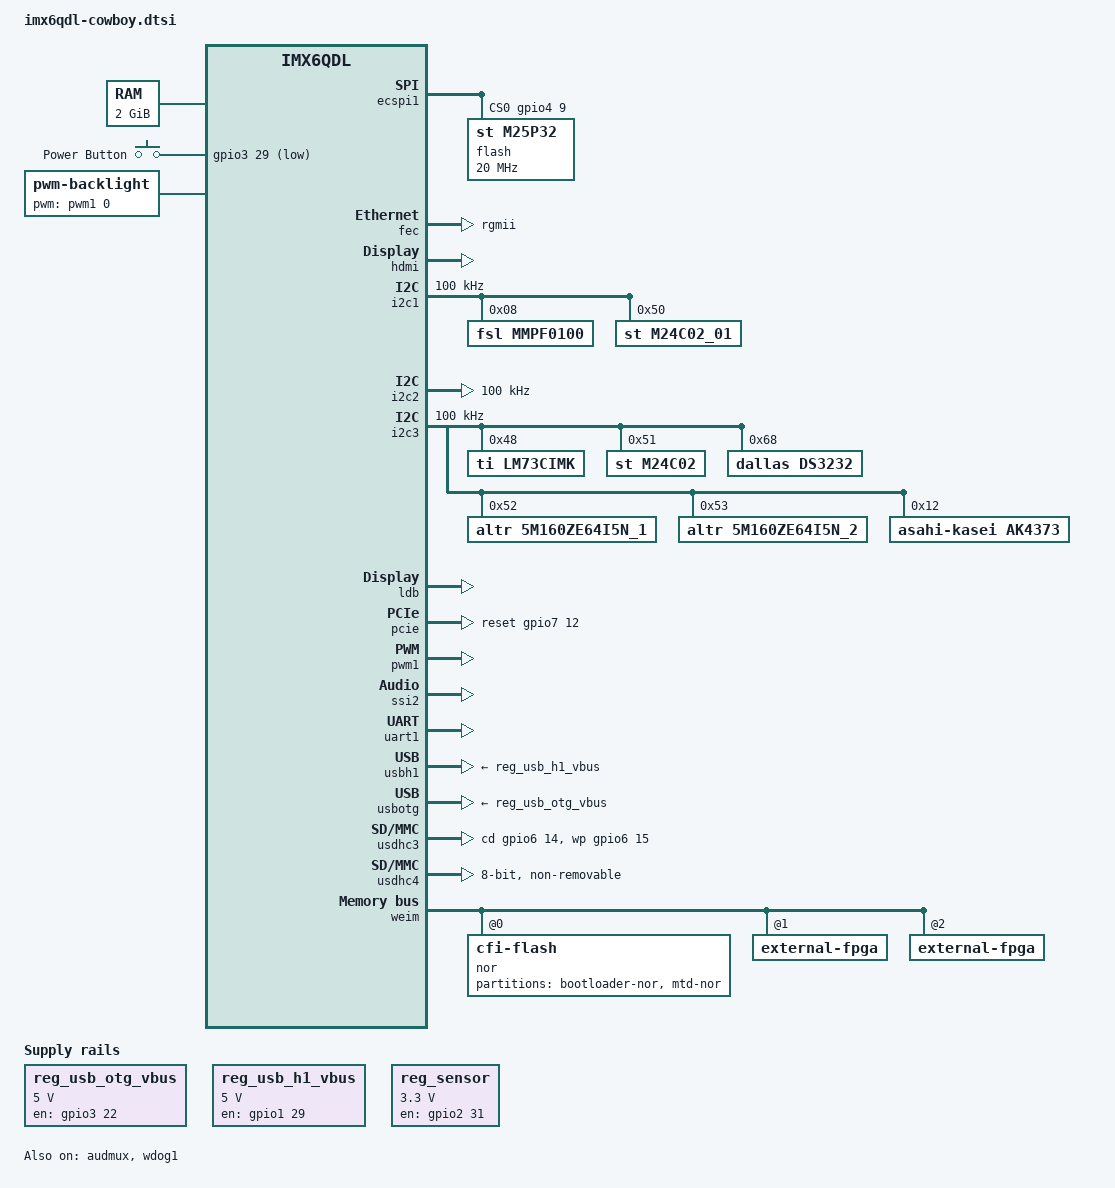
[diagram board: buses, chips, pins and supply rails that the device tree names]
/*
 * Cowboy SOC support
 *
 * Copyright 2016 Sony Corporation
 * Based on arch/arm/boot/dts/imx6qdl-sabresd.dtsi
 *
 * Copyright 2012 Freescale Semiconductor, Inc.
 * Copyright 2011 Linaro Ltd.
 *
 * The code contained herein is licensed under the GNU General Public
 * License. You may obtain a copy of the GNU General Public License
 * Version 2 or later at the following locations:
 *
 * http://www.opensource.org/licenses/gpl-license.html
 * http://www.gnu.org/copyleft/gpl.html
 */

/ {
	aliases {
		mxcfb0 = &mxcfb1;
		mxcfb1 = &mxcfb2;
		mxcfb2 = &mxcfb3;
		mmcblk0 = &usdhc4;	/* eMMC phandle aliasing */
		mmcblk1 = &usdhc3;	/* SD card phandle aliasing */
	};

	chosen {
		linux,nblargs-len = <0x1000>;
		linux,nblargs-addr = <0xc1ffe000>;
		linux,nblargs-off = <0xc0000000>;
	};

	memory {
		reg = <0x10000000 0x80000000>;
	};

	regulators {
		compatible = "simple-bus";

		reg_usb_otg_vbus: usb_otg_vbus {
			compatible = "regulator-fixed";
			regulator-name = "usb_otg_vbus";
			regulator-min-microvolt = <5000000>;
			regulator-max-microvolt = <5000000>;
			gpio = <&gpio3 22 0>;
			enable-active-high;
		};

		reg_usb_h1_vbus: usb_h1_vbus {
			compatible = "regulator-fixed";
			regulator-name = "usb_h1_vbus";
			regulator-min-microvolt = <5000000>;
			regulator-max-microvolt = <5000000>;
			gpio = <&gpio1 29 0>;
			enable-active-high;
		};

		reg_sensor: sensor_supply {
			compatible = "regulator-fixed";
			regulator-name = "sensor-supply";
			regulator-min-microvolt = <3300000>;
			regulator-max-microvolt = <3300000>;
			gpio = <&gpio2 31 0>;
			startup-delay-us = <500>;
			enable-active-high;
		};
	};

	gpio-keys {
		compatible = "gpio-keys";
		power {
			label = "Power Button";
			gpios = <&gpio3 29 1>;
			linux,code = <116>; /* KEY_POWER */
			gpio-key,wakeup;
		};
	};

	sound {
		compatible = "fsl,imx-audio-ak4373";
		model = "ak4373-audio";
		imx-audio-ak4373,format = "i2s";
		mux-int-port = <2>; /* AUDMUX internal port */
		mux-ext-port = <4>; /* AUDMUX external port */
		cpu {
			sound-dai = <&ssi2 2>;
			bitclock-master;
			frame-master;
			format = "i2s";
		};
		codec {
			sound-dai = <&ak4373>;
			format = "i2s";
		};
	};

	mxcfb1: fb@0 {
		compatible = "fsl,mxc_sdc_fb";
		disp_dev = "ldb";
		interface_pix_fmt = "RGB666";
		default_bpp = <16>;
		int_clk = <0>;
		late_init = <0>;
		status = "okay";
	};

	mxcfb2: fb@1 {
		compatible = "fsl,mxc_sdc_fb";
		disp_dev = "hdmi";
		interface_pix_fmt = "RGB24";
		mode_str ="1920x1080M@60";
		default_bpp = <24>;
		int_clk = <0>;
		late_init = <0>;
		status = "okay";
	};

	mxcfb3: fb@2 {
		compatible = "fsl,mxc_sdc_fb";
		disp_dev = "lcd";
		interface_pix_fmt = "RGB565";
		mode_str ="CLAA-WVGA";
		default_bpp = <16>;
		int_clk = <0>;
		late_init = <0>;
		status = "disabled";
	};

	lcd@0 {
		compatible = "fsl,lcd";
		ipu_id = <0>;
		disp_id = <0>;
		default_ifmt = "RGB565";
		pinctrl-names = "default";
		pinctrl-0 = <&pinctrl_ipu1_4>;
		status = "okay";
	};

	backlight {
		compatible = "pwm-backlight";
		pwms = <&pwm1 0 5000000>;
		brightness-levels = <0 4 8 16 32 64 128 255>;
		default-brightness-level = <7>;
	};

	v4l2_out {
		compatible = "fsl,mxc_v4l2_output";
		status = "okay";
		};
};

&audmux {
	pinctrl-names = "default";
	pinctrl-0 = <&pinctrl_audmux_4>;
	status = "okay";
};

&clks {
	assigned-clocks = <&clks 33>,
			  <&clks 34>;
	assigned-clock-parents = <&clks 172>,
				 <&clks 172>;
};

&ecspi1 {
	fsl,spi-num-chipselects = <1>;
	cs-gpios = <&gpio4 9 0>;
	pinctrl-names = "default";
	pinctrl-0 = <&pinctrl_ecspi1_2>;
	status = "okay";

	flash: m25p80@0 {
		#address-cells = <1>;
		#size-cells = <1>;
		compatible = "st,m25p32";
		spi-max-frequency = <20000000>;
		reg = <0>;
	};
};

&fec {
	pinctrl-names = "default";
	pinctrl-0 = <&pinctrl_enet_4>;
	phy-mode = "rgmii";
	status = "okay";
};

&gpc {
	fsl,cpu_pupscr_sw2iso = <0xf>;
	fsl,cpu_pupscr_sw = <0xf>;
	fsl,cpu_pdnscr_iso2sw = <0x1>;
	fsl,cpu_pdnscr_iso = <0x1>;
	fsl,ldo-bypass = <1>; /* use ldo-bypass, u-boot will check it and configure */
	fsl,wdog-reset = <1>; /* watchdog select of reset source */
	pu-supply = <&reg_pu>;
};

&wdog1 {
	status = "okay";
};

&wdog2 {
	status = "disabled";
};

&hdmi {
	ddc-i2c-bus = <&i2c2>;
	status = "okay";
};

&i2c1 {
	clock-frequency = <100000>;
	pinctrl-names = "default";
	pinctrl-0 = <&pinctrl_i2c1_2>;
	status = "okay";

	mmpf0100@08 {
		compatible = "fsl,mmpf0100";
		reg = <0x08>;
	};

	m24c02_01@50 {
		compatible = "st,m24c02_01";
		reg = <0x50>;
	};
};

&i2c2 {
	clock-frequency = <100000>;
	pinctrl-names = "default";
	pinctrl-0 = <&pinctrl_i2c2_2>;
	status = "okay";
};

&i2c3 {
	clock-frequency = <100000>;
	pinctrl-names = "default";
	pinctrl-0 = <&pinctrl_i2c3_3>;
	status = "okay";

	lm73cimk@48 {
		compatible = "ti,lm73cimk";
		reg = <0x48>;
	};

	m24c02@51 {
		compatible = "st,m24c02";
		reg = <0x51>;
	};

	ds3232@68 {
		compatible = "dallas,ds3232";
		reg = <0x68>;
	};

	5m160ze64i5n_1@52 {
		compatible = "altr,5m160ze64i5n_1";
		reg = <0x52>;
	};

	5m160ze64i5n_2@53 {
		compatible = "altr,5m160ze64i5n_2";
		reg = <0x53>;
	};

	ak4373: ak4373@12 {
		compatible = "asahi-kasei,ak4373";
		#sound-dai-cells = <0>;
		reg = <0x12>;
	};

};

&iomuxc {
	pinctrl-names = "default";
	pinctrl-0 = <&pinctrl_hog_1>;

	hog {
		pinctrl_hog_1: hoggrp-1 {
			fsl,pins = <
				MX6QDL_PAD_GPIO_4__GPIO1_IO04   0x80000000
				MX6QDL_PAD_NANDF_D0__GPIO2_IO00 0x80000000
				MX6QDL_PAD_NANDF_D1__GPIO2_IO01 0x80000000
				MX6QDL_PAD_NANDF_D2__GPIO2_IO02 0x80000000
				MX6QDL_PAD_NANDF_D3__GPIO2_IO03 0x80000000
				MX6QDL_PAD_NANDF_ALE__GPIO6_IO08 0x80000000
				MX6QDL_PAD_NANDF_CLE__GPIO6_IO07 0x80000000
				MX6QDL_PAD_GPIO_0__CCM_CLKO1    0x130b0
				MX6QDL_PAD_NANDF_CS2__GPIO6_IO15 0x80000000
				MX6QDL_PAD_NANDF_CS3__GPIO6_IO16 0x80000000
				MX6QDL_PAD_ENET_RXD0__GPIO1_IO27 0x80000000
				MX6QDL_PAD_ENET_TXD1__GPIO1_IO29 0x80000000
				MX6QDL_PAD_NANDF_CS0__GPIO6_IO11 0x80000000
				MX6QDL_PAD_NANDF_CS1__GPIO6_IO14 0x80000000
				MX6QDL_PAD_GPIO_4__GPIO1_IO04 0x80000000
				MX6QDL_PAD_SD3_RST__GPIO7_IO08 0x80000000
				MX6QDL_PAD_GPIO_9__GPIO1_IO09 0x80000000
				MX6QDL_PAD_GPIO_1__WDOG2_B 0x80000000
				MX6QDL_PAD_GPIO_2__GPIO1_IO02 0x80000000
				MX6QDL_PAD_SD1_CMD__GPIO1_IO18 0x80000000
			>;
		};
	};
};

&ldb {
	status = "okay";

	lvds-channel@0 {
		fsl,data-mapping = "spwg";
		fsl,data-width = <18>;
		status = "okay";

		display-timings {
			native-mode = <&timing0>;
			timing0: VESA-800x600@60 {
				clock-frequency = <40000000>;
				hactive = <800>;
				vactive = <600>;
				hback-porch = <88>;
				hfront-porch = <40>;
				vback-porch = <22>;
				vfront-porch = <2>;
				hsync-len = <128>;
				vsync-len = <4>;
			};
		};
	};
};

&pcie {
	power-on-gpio = <&gpio3 19 0>;
	reset-gpio = <&gpio7 12 0>;
	status = "okay";
};


&pwm1 {
	pinctrl-names = "default";
	pinctrl-0 = <&pinctrl_pwm1_1>;
	status = "okay";
};

&ssi2 {
	fsl,mode = "i2s-master";
	fsl,fifo-depth = <15>;
	status = "okay";
};

&uart1 {
	pinctrl-names = "default";
	pinctrl-0 = <&pinctrl_uart1_1>;
	status = "okay";
};

&usbh1 {
	vbus-supply = <&reg_usb_h1_vbus>;
	status = "okay";
};

&usbotg {
	vbus-supply = <&reg_usb_otg_vbus>;
	pinctrl-names = "default";
	pinctrl-0 = <&pinctrl_usbotg_2>;
	disable-over-current;
	status = "okay";
};

&usdhc3 {
	pinctrl-names = "default";
	pinctrl-0 = <&pinctrl_usdhc3_1>;
	cd-gpios = <&gpio6 14 0>;
	wp-gpios = <&gpio6 15 0>;
	no-1-8-v;
	keep-power-in-suspend;
	enable-sdio-wakeup;
	status = "okay";
};

&usdhc4 {
        pinctrl-names = "default";
        pinctrl-0 = <&pinctrl_usdhc4_1>;
        bus-width = <8>;
        non-removable;
        no-1-8-v;
        keep-power-in-suspend;
        status = "okay";
};

&vpu {
	pu-supply = <&pu_dummy>; /* ldo-bypass:use pu_dummy if VDDSOC share with VDDPU */
};

&weim {
	pinctrl-names = "default";
	pinctrl-0 = <&pinctrl_weim_nor_1 &pinctrl_weim_cs0_1>;
	clocks = <&clks 196>;
	#address-cells = <2>;
	#size-cells = <1>;
	ranges = <0 0 0x08000000 0x04000000
		1 0 0x0C000000 0x02000000
		2 0 0x0E000000 0x02000000>;
	status = "okay";

	nor@0,0 {
		compatible = "cfi-flash";
		reg = <0 0 0x04000000>;
		probe-type = "CFI";
		linux,mtd-name = "physmap-flash.0";
		device_type = "nor";
		#address-cells = <1>;
		#size-cells = <1>;
		bank-width = <2>;
		weim-cs-index = <0>;
		fsl,weim-cs-timing = <0x00420081 0x00001002 0x0f182211
				0x00000000 0x8f212489 0x00000000>;
		partition@0 {
			label = "bootloader-nor";
			reg = <0 0x2000000>;
		};
		partition@1 {
			label = "mtd-nor";
			reg = <0x2000000 0x2000000>;
		};
	};

	external-fpga@1,0 {
		reg = <1 0 0x02000000>;
		#address-cells = <1>;
		#size-cells = <1>;
		weim-cs-index = <1>;
		fsl,weim-cs-timing = <0x077100b9 0x00001001 0x0f131010
				0x00000008 0x0f2c0e08 0x00000000>;
	};
	external-fpga@2,0 {
		reg = <2 0 0x2000000>;
		#address-cells = <1>;
		#size-cells = <1>;
		weim-cs-index = <2>;
		fsl,weim-cs-timing = <0x077100b9 0x00001001 0x0f131010
				0x00000008 0x0f2c0e08 0x00000000>;
	};

};
